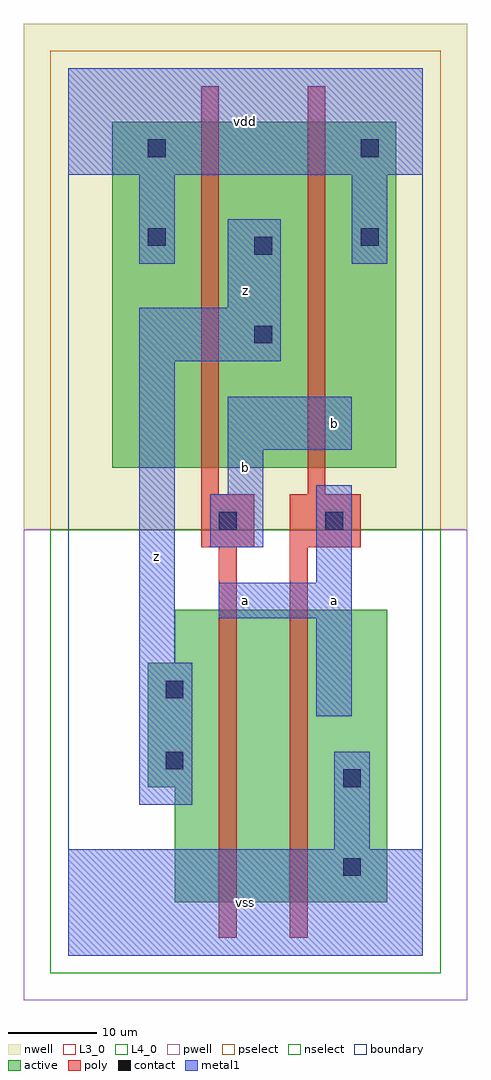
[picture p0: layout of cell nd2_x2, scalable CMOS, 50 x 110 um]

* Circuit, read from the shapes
.subckt nd2_x2 a b vdd vss z
M1 n1 b z VSUBS nfet w=33u l=2u
M2 vss a n1 VSUBS nfet w=33u l=2u
M3 z b vdd n2 pfet w=39u l=2u
M4 vdd a z n2 pfet w=39u l=2u
.ends

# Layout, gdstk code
import gdstk
lib = gdstk.Library(unit=1e-6, precision=1e-09)
def R(c, l, rs):  # rectangles x0, y0, x1, y1
    for r in rs: c.add(gdstk.rectangle(r[:2], r[2:], *l))
L3_0 = (3, 0)
L4_0 = (4, 0)
contact = (25, 0)
pwell = (41, 0)
nwell = (42, 0)
active = (43, 0)
pselect = (44, 0)
nselect = (45, 0)
poly = (46, 0)
metal1 = (49, 0)
boundary = (63, 0)

nd2_x2 = lib.new_cell('nd2_x2')
R(nd2_x2, L3_0, [(12,6,36,19), (9,19,36,33), (12,33,36,39)])
R(nd2_x2, L4_0, [(5,55,37,94)])
R(nd2_x2, contact, [(31,9,33,11), (31,19,33,21), (11,21,13,23), (11,29,13,31), (17,48,19,50), (29,48,31,50), (21,69,23,71), (21,79,23,81), (9,80,11,82), (33,80,35,82), (9,90,11,92), (33,90,35,92)])
R(nd2_x2, pwell, [(-5,-5,45,48)])
R(nd2_x2, nwell, [(-5,48,45,105)])
R(nd2_x2, active, [(12,6,36,19), (9,19,36,33), (12,33,36,39), (5,55,37,94)])
R(nd2_x2, pselect, [(-2,48,42,102)])
R(nd2_x2, nselect, [(-2,-2,42,48)])
R(nd2_x2, poly, [(17,2,19,46), (25,2,27,46), (15,46,21,52), (25,46,33,52), (15,52,17,98), (27,52,29,98)])
R(nd2_x2, metal1, [(0,0,40,12), (30,12,34,23), (8,17,14,33), (28,27,32,38), (8,33,12,67), (17,38,32,42), (28,42,32,53), (16,46,22,52), (18,52,22,57), (18,57,32,63), (8,67,24,73), (18,73,24,83), (8,78,12,88), (32,78,36,88), (0,88,40,100)])
R(nd2_x2, boundary, [(0,0,40,100)])
nd2_x2.add(gdstk.Label('z', (10,45), layer=49, texttype=0))
nd2_x2.add(gdstk.Label('vss', (20,6), layer=49, texttype=0))
nd2_x2.add(gdstk.Label('a', (20,40), layer=49, texttype=0))
nd2_x2.add(gdstk.Label('b', (20,55), layer=49, texttype=0))
nd2_x2.add(gdstk.Label('z', (20,75), layer=49, texttype=0))
nd2_x2.add(gdstk.Label('vdd', (20,94), layer=49, texttype=0))
nd2_x2.add(gdstk.Label('a', (30,40), layer=49, texttype=0))
nd2_x2.add(gdstk.Label('b', (30,60), layer=49, texttype=0))

lib.write_gds('nd2_x2.gds')
